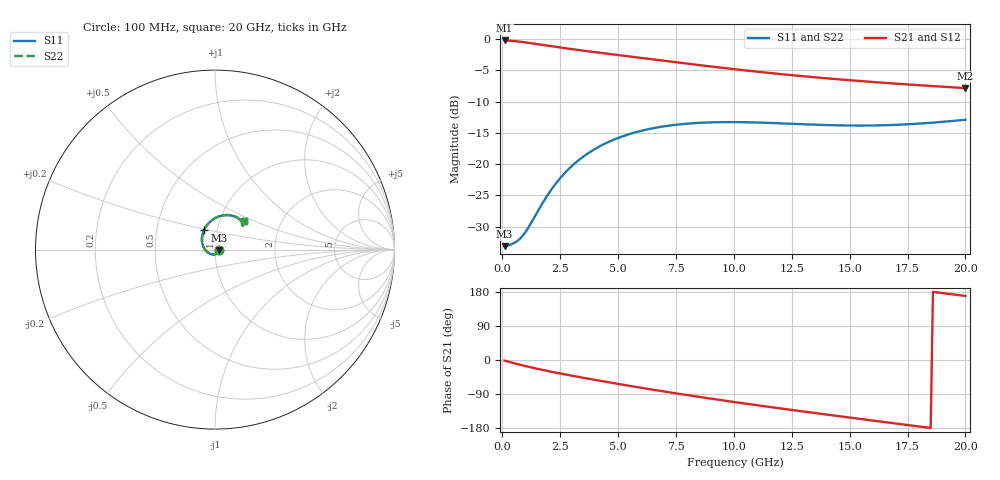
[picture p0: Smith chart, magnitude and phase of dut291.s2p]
! Touchstone file exported from HFSS 2023.1.0
!  File:  D:/Users/fzz/RDL_TSV/temp_RDL_TSV_291_1778763495.aedt
!  Generated:  9:07:28 %x4E0B%x5348  5%x6708 14, 2026
!  Design:  RDL_TSV
!  Project:  temp_RDL_TSV_291_1778763495
!  Setup:  Setup1
!  Solution:  Sweep
! Variables:
!  dtsv = 16.83um
!  hbump = 3um
!  htsv = 62.71um
!  ldown = 281.84um
!  lrdl = 389.6um
!  p = 40
!  p1 = 40.68um
!  rhole = 10um
!  subl = 2403.92um
!  t = 450um
!  tdown = 2.66um
!  trdl = 2.12um
!  viad = 10um
!  wdown = 10.1um
!  wrdl = 23.59um
!  xbump = 18um
# GHz S MA R 50.000000
! Terminal data exported
! Port[1] = TM1_1_T1
! Port[2] = TM1_4_T1
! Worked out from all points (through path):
!   200 points, 100 MHz to 20 GHz, reference 50 ohm
!   highest |S21| = -0.20 dB at 100 MHz (marker M1); lowest = -7.8 dB at 20 GHz (marker M2)
!   group delay of S21, straight-line fit = 25.3 ps
!   lowest |S11| = -33.1 dB at 100 MHz (marker M3), VSWR 1.05, Z = 52.2 - j0.39 ohm
!   |S11| at or under -10 dB: start of sweep to end of sweep
!   |S22| runs from -33.1 to -12.9 dB; largest |S21 - S12| = 8.5e-15
!   S11 on the Smith chart (normalised r, x): 100 MHz: 1.04, -0.01; 3.8 GHz: 0.87, +0.19; 20 GHz: 1.30, +0.44
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0.1  0.02207 -9.7  0.9774 -1.7  0.9774 -1.7  0.02207 -9.7
! Gamma 0 0 0 0
! Port Impedance 50 0 50 0
0.5  0.02335 -52.1  0.9668 -8.4  0.9668 -8.4  0.02335 -52.1
0.8  0.02571 -86.6  0.9536 -13.0  0.9536 -13.0  0.02571 -86.7
1.1  0.03052 -118.9  0.9376 -17.5  0.9376 -17.5  0.03052 -118.9
1.6  0.04416 -160.3  0.9086 -24.4  0.9086 -24.4  0.0442 -160.3
2.1  0.06195 171.6  0.8798 -30.8  0.8798 -30.8  0.06204 171.6
2.5  0.07729 155.1  0.8582 -35.6  0.8582 -35.6  0.07741 155.0
3  0.09651 138.8  0.8333 -41.4  0.8333 -41.4  0.09668 138.8
3.5  0.115 125.8  0.8101 -47.0  0.8101 -47.0  0.1152 125.7
3.8  0.1255 119.0  0.7969 -50.3  0.7969 -50.3  0.1257 119.0
4.5  0.148 105.6  0.7674 -57.8  0.7674 -57.8  0.1482 105.6
5.2  0.1672 94.5  0.7393 -65.2  0.7393 -65.2  0.1675 94.5
6  0.1849 83.8  0.7084 -73.4  0.7084 -73.4  0.1853 83.8
6.8  0.1983 74.9  0.6788 -81.3  0.6788 -81.3  0.1988 74.9
8.4  0.2136 60.8  0.624 -96.5  0.624 -96.5  0.2141 60.8
10.1  0.2171 50.4  0.5734 -111.6  0.5734 -111.6  0.2176 50.5
11.7  0.2134 44.3  0.5332 -125.2  0.5332 -125.2  0.2139 44.4
13.4  0.2074 41.2  0.4976 -139.1  0.4976 -139.1  0.2079 41.2
15  0.2038 40.8  0.4698 -151.9  0.4698 -151.9  0.2043 40.8
16.7  0.2054 42.0  0.4449 -165.3  0.4449 -165.3  0.2059 42.1
18.3  0.2131 43.5  0.4248 -177.8  0.4248 -177.8  0.2136 43.6
20  0.2266 44.4  0.4062 168.9  0.4062 168.9  0.2273 44.5
